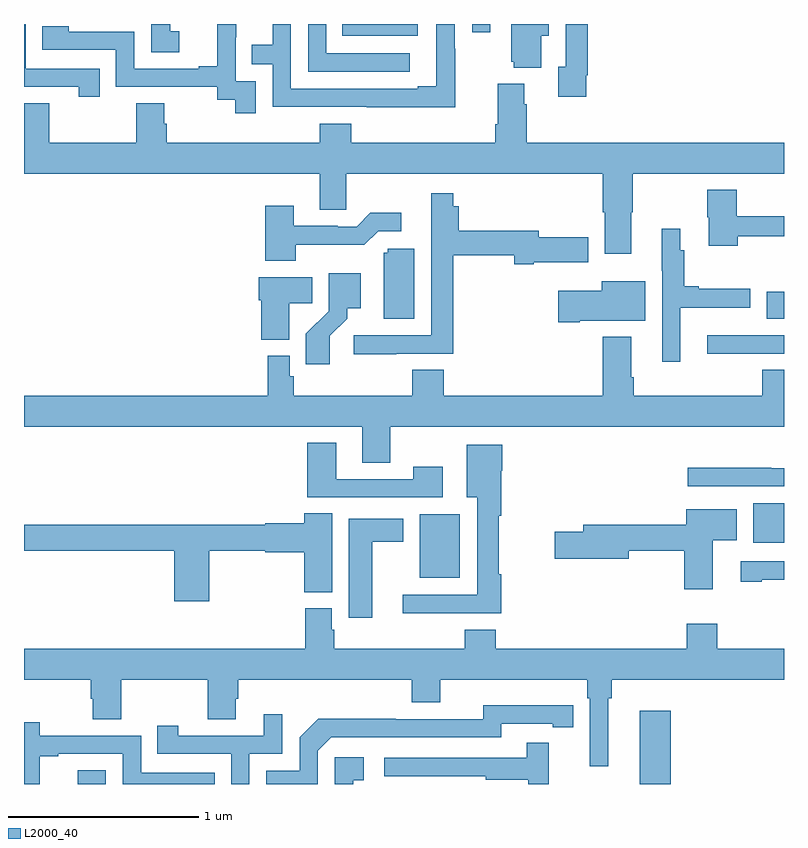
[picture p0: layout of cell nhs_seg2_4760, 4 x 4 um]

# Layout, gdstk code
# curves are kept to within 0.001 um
import gdstk
lib = gdstk.Library(unit=1e-6, precision=1e-09)
def R(c, l, rs):  # rectangles x0, y0, x1, y1
    for r in rs: c.add(gdstk.rectangle(r[:2], r[2:], *l))
def P(c, l, *ps):  # polygons
    for p in ps: c.add(gdstk.Polygon(p, *l))
L2000_40 = (2000, 40)

nhs_seg2_4760 = lib.new_cell('nhs_seg2_4760')
R(nhs_seg2_4760, L2000_40, [(371.283,601.8,371.43,601.873), (374.24,601.8,374.404,602.185), (373.082,602.885,373.294,603.22), (374.837,603.071,375,603.277), (374.908,604.25,375,604.39), (372.676,605.738,373.072,605.8), (373.359,605.757,373.455,605.8)])
P(nhs_seg2_4760, L2000_40, [(373.269,605.669),(373.266,605.669),(373.266,605.8),(373.17,605.8),(373.17,605.473),(373.073,605.473),(373.073,605.46),(372.405,605.46),(372.405,605.8),(372.309,605.8),(372.309,605.69),(372.199,605.69),(372.199,605.589),(372.309,605.589),(372.309,605.364),(372.805,605.364),(372.805,605.363),(373.269,605.363)],
  [(373.96,605.53),(373.967,605.53),(373.967,605.8),(373.851,605.8),(373.851,605.574),(373.811,605.574),(373.811,605.418),(373.96,605.418)],
  [(373.03,605.646),(372.591,605.646),(372.591,605.8),(372.495,605.8),(372.495,605.55),(373.03,605.55)],
  [(372.219,605.499),(372.114,605.499),(372.114,605.729),(372.116,605.729),(372.116,605.8),(372.017,605.8),(372.017,605.578),(371.921,605.578),(371.921,605.565),(371.58,605.565),(371.58,605.76),(371.235,605.76),(371.235,605.787),(371.095,605.787),(371.095,605.664),(371.484,605.664),(371.484,605.469),(372.018,605.469),(372.018,605.401),(372.111,605.401),(372.111,605.331),(372.219,605.331)],
  [(371.399,605.565),(371.01,605.565),(371.01,605.8),(371,605.8),(371,605.469),(371.288,605.469),(371.288,605.418),(371.399,605.418)],
  [(371.818,605.761),(371.769,605.761),(371.769,605.8),(371.67,605.8),(371.67,605.652),(371.818,605.652)],
  [(373.723,605.738),(373.762,605.738),(373.762,605.8),(373.565,605.8),(373.565,605.601),(373.577,605.601),(373.577,605.57),(373.723,605.57)],
  [(373.646,605.378),(373.633,605.378),(373.633,605.485),(373.493,605.485),(373.493,605.272),(373.481,605.272),(373.481,605.176),(372.722,605.176),(372.722,605.275),(372.557,605.275),(372.557,605.176),(371.75,605.176),(371.75,605.274),(371.737,605.274),(371.737,605.384),(371.59,605.384),(371.59,605.176),(371.133,605.176),(371.133,605.384),(371,605.384),(371,605.012),(372.557,605.012),(372.557,604.822),(372.696,604.822),(372.696,605.012),(374.045,605.012),(374.045,604.809),(374.057,604.809),(374.057,604.59),(374.197,604.59),(374.197,604.81),(374.205,604.81),(374.205,605.012),(375,605.012),(375,605.176),(373.646,605.176)],
  [(374.756,604.684),(375,604.684),(375,604.788),(374.751,604.788),(374.751,604.927),(374.596,604.927),(374.596,604.782),(374.603,604.782),(374.603,604.632),(374.756,604.632)],
  [(372.959,604.065),(373.259,604.065),(373.259,604.582),(373.58,604.582),(373.58,604.535),(373.684,604.535),(373.684,604.547),(373.969,604.547),(373.969,604.677),(373.708,604.677),(373.708,604.711),(373.289,604.711),(373.289,604.84),(373.259,604.84),(373.259,604.909),(373.143,604.909),(373.143,604.161),(372.735,604.161),(372.735,604.063),(372.959,604.063)],
  [(372.429,604.638),(372.791,604.638),(372.864,604.71),(372.985,604.71),(372.985,604.807),(372.823,604.807),(372.75,604.734),(372.65,604.734),(372.65,604.737),(372.421,604.737),(372.421,604.843),(372.269,604.843),(372.269,604.553),(372.429,604.553)],
  [(374.455,604.307),(374.823,604.307),(374.823,604.407),(374.551,604.407),(374.551,604.42),(374.474,604.42),(374.474,604.61),(374.455,604.61),(374.455,604.723),(374.357,604.723),(374.357,604.501),(374.358,604.501),(374.358,604.023),(374.455,604.023)],
  [(373.054,604.617),(372.915,604.617),(372.915,604.596),(372.893,604.596),(372.893,604.248),(373.054,604.248)],
  [(372.61,604.159),(372.7,604.249),(372.7,604.304),(372.772,604.304),(372.772,604.489),(372.605,604.489),(372.605,604.44),(372.603,604.44),(372.603,604.289),(372.484,604.17),(372.484,604.008),(372.61,604.008)],
  [(372.397,604.33),(372.518,604.33),(372.518,604.468),(372.236,604.468),(372.236,604.347),(372.248,604.347),(372.248,604.139),(372.397,604.139)],
  [(373.924,604.238),(374.269,604.238),(374.269,604.447),(374.042,604.447),(374.042,604.396),(373.812,604.396),(373.812,604.231),(373.924,604.231)],
  [(375,604.161),(374.814,604.161),(374.814,604.162),(374.595,604.162),(374.595,604.065),(375,604.065)],
  [(372.927,603.68),(375,603.68),(375,603.98),(374.885,603.98),(374.885,603.844),(374.21,603.844),(374.21,603.94),(374.197,603.94),(374.197,604.153),(374.045,604.153),(374.045,603.844),(373.208,603.844),(373.208,603.98),(373.043,603.98),(373.043,603.844),(372.419,603.844),(372.419,603.945),(372.399,603.945),(372.399,604.054),(372.283,604.054),(372.283,603.844),(371,603.844),(371,603.68),(372.779,603.68),(372.779,603.49),(372.927,603.49)],
  [(373.204,603.469),(373.048,603.469),(373.048,603.405),(372.643,603.405),(372.643,603.595),(372.491,603.595),(372.491,603.309),(373.204,603.309)],
  [(373.511,602.903),(373.498,602.903),(373.498,603.212),(373.511,603.212),(373.511,603.45),(373.516,603.45),(373.516,603.586),(373.331,603.586),(373.331,603.308),(373.385,603.308),(373.385,602.796),(372.993,602.796),(372.993,602.699),(373.511,602.699)],
  [(375,603.462),(374.933,603.462),(374.933,603.464),(374.493,603.464),(374.493,603.366),(375,603.366)],
  [(374.626,603.083),(374.752,603.083),(374.752,603.247),(374.486,603.247),(374.486,603.164),(373.943,603.164),(373.943,603.128),(373.794,603.128),(373.794,602.986),(374.182,602.986),(374.182,603.028),(374.474,603.028),(374.474,602.826),(374.626,602.826)],
  [(371.975,603.028),(372.27,603.028),(372.27,603.02),(372.476,603.02),(372.476,602.809),(372.622,602.809),(372.622,603.224),(372.476,603.224),(372.476,603.172),(372.27,603.172),(372.27,603.164),(371,603.164),(371,603.028),(371.792,603.028),(371.792,602.763),(371.975,602.763)],
  [(372.832,603.074),(372.997,603.074),(372.997,603.196),(372.71,603.196),(372.71,602.676),(372.832,602.676)],
  [(374.884,602.875),(375,602.875),(375,602.973),(374.772,602.973),(374.772,602.865),(374.884,602.865)],
  [(374.074,602.252),(374.093,602.252),(374.093,602.348),(375,602.348),(375,602.512),(374.649,602.512),(374.649,602.644),(374.489,602.644),(374.489,602.512),(373.484,602.512),(373.484,602.611),(373.319,602.611),(373.319,602.512),(372.632,602.512),(372.632,602.613),(372.619,602.613),(372.619,602.724),(372.479,602.724),(372.479,602.512),(371,602.512),(371,602.348),(371.351,602.348),(371.351,602.25),(371.363,602.25),(371.363,602.14),(371.511,602.14),(371.511,602.348),(371.968,602.348),(371.968,602.14),(372.115,602.14),(372.115,602.25),(372.128,602.25),(372.128,602.348),(373.04,602.348),(373.04,602.231),(373.192,602.231),(373.192,602.348),(373.964,602.348),(373.964,602.252),(373.977,602.252),(373.977,601.893),(374.074,601.893)],
  [(372.546,601.974),(372.618,602.046),(373.512,602.046),(373.512,602.118),(373.784,602.118),(373.784,602.098),(373.892,602.098),(373.892,602.214),(373.416,602.215),(373.416,602.142),(372.956,602.142),(372.956,602.144),(372.548,602.144),(372.45,602.046),(372.45,601.869),(372.276,601.869),(372.276,601.8),(372.546,601.8)],
  [(372.186,601.959),(372.36,601.959),(372.36,602.167),(372.263,602.167),(372.263,602.055),(371.812,602.055),(371.812,602.107),(371.701,602.107),(371.701,601.959),(372.09,601.959),(372.09,601.8),(372.186,601.8)],
  [(371.084,601.947),(371.179,601.947),(371.179,601.959),(371.52,601.959),(371.52,601.8),(372.005,601.8),(372.005,601.86),(371.616,601.86),(371.616,602.055),(371.082,602.055),(371.082,602.124),(371,602.124),(371,601.8),(371.084,601.8)],
  [(373.763,602.017),(373.645,602.017),(373.645,601.938),(372.897,601.938),(372.897,601.842),(373.429,601.842),(373.429,601.822),(373.653,601.822),(373.653,601.8),(373.763,601.8)],
  [(372.734,601.821),(372.787,601.821),(372.787,601.942),(372.636,601.942),(372.636,601.8),(372.734,601.8)])

lib.write_gds('nhs_seg2_4760.gds')
